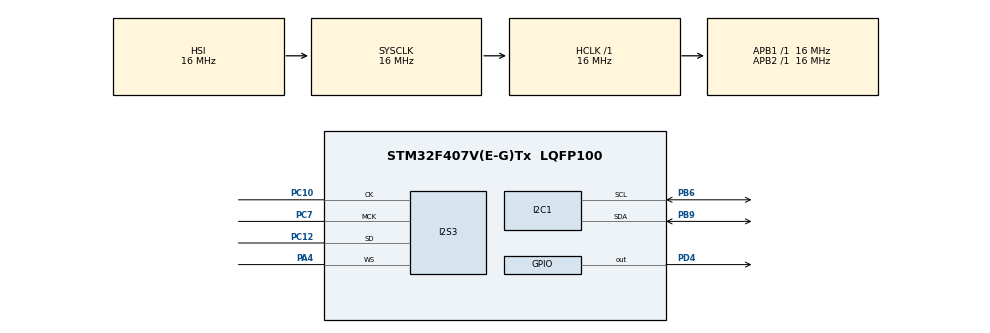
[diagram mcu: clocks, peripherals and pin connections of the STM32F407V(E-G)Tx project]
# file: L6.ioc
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Dma.Request0=SPI3_TX
Dma.SPI3_TX.0.Direction=DMA_MEMORY_TO_PERIPH
Dma.SPI3_TX.0.FIFOMode=DMA_FIFOMODE_ENABLE
Dma.SPI3_TX.0.FIFOThreshold=DMA_FIFO_THRESHOLD_FULL
Dma.SPI3_TX.0.Instance=DMA1_Stream5
Dma.SPI3_TX.0.MemBurst=DMA_MBURST_SINGLE
Dma.SPI3_TX.0.MemDataAlignment=DMA_MDATAALIGN_HALFWORD
Dma.SPI3_TX.0.MemInc=DMA_MINC_ENABLE
Dma.SPI3_TX.0.Mode=DMA_CIRCULAR
Dma.SPI3_TX.0.PeriphBurst=DMA_PBURST_SINGLE
Dma.SPI3_TX.0.PeriphDataAlignment=DMA_PDATAALIGN_HALFWORD
Dma.SPI3_TX.0.PeriphInc=DMA_PINC_DISABLE
Dma.SPI3_TX.0.Priority=DMA_PRIORITY_LOW
I2S3.AudioFreq=I2S_AUDIOFREQ_48K
I2S3.ErrorAudioFreq=-2.34 %
I2S3.FullDuplexMode=I2S_FULLDUPLEXMODE_DISABLE
I2S3.Instance=SPI$Index
I2S3.RealAudioFreq=46.875 KHz
I2S3.VirtualMode=I2S_MODE_MASTER
Mcu.Family=STM32F4
Mcu.Name=STM32F407V(E-G)Tx
Mcu.Package=LQFP100
NVIC.DMA1_Stream5_IRQn=true\:0\:0\:false\:false\:true\:false\:true\:true
NVIC.PriorityGroup=NVIC_PRIORITYGROUP_4
PA4.Mode=Half_Duplex_Master
PA4.Signal=I2S3_WS
PB6.Mode=I2C
PB6.Signal=I2C1_SCL
PB9.Mode=I2C
PB9.Signal=I2C1_SDA
PC10.Mode=Half_Duplex_Master
PC10.Signal=I2S3_CK
PC12.Mode=Half_Duplex_Master
PC12.Signal=I2S3_SD
PC7.Mode=Master_Clock_Activated
PC7.Signal=I2S3_MCK
PD4.Signal=GPIO_Output
ProjectManager.HeapSize=0x200
ProjectManager.StackSize=0x400
ProjectManager.TargetToolchain=STM32CubeIDE
RCC.AHBFreq_Value=16000000
RCC.APB1Freq_Value=16000000
RCC.APB2Freq_Value=16000000
RCC.CortexFreq_Value=16000000
RCC.HSE_VALUE=25000000
RCC.HSI_VALUE=16000000
RCC.LSE_VALUE=32768
RCC.SYSCLKFreq_VALUE=16000000
RCC.VCOOutputFreq_Value=192000000
board=custom

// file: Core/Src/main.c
/* USER CODE BEGIN Header */
/**
  ******************************************************************************
  * @file           : main.c
  * @brief          : Main program body
  ******************************************************************************
  * @attention
  *
  * Copyright (c) 2025 STMicroelectronics.
  * All rights reserved.
  *
  * This software is licensed under terms that can be found in the LICENSE file
  * in the root directory of this software component.
  * If no LICENSE file comes with this software, it is provided AS-IS.
  *
  ******************************************************************************
  */
/* USER CODE END Header */
#include "main.h"

/* USER CODE BEGIN PTD */

typedef enum {
	C4,
	C5,
	D5,
	E5,
	F5,
	G5,
	A5,
	B5,
	C6,
	D6,
	E6,
	F6,
	G6,
	A6,
	B6,
	C7,
} soundToneType;

/* USER CODE END PTD */

/* USER CODE BEGIN PD */
#define CS43L22_I2C_ADDRESS 0x94
#define I2C_TIMEOUT 10

/* USER CODE END PD */

I2C_HandleTypeDef hi2c1;

I2S_HandleTypeDef hi2s3;
DMA_HandleTypeDef hdma_spi3_tx;

/* USER CODE BEGIN PV */

int16_t dataI2S[100] = {0};

/* USER CODE END PV */

void SystemClock_Config(void);
static void MX_GPIO_Init(void);
static void MX_DMA_Init(void);
static void MX_I2C1_Init(void);
static void MX_I2S3_Init(void);

/* USER CODE BEGIN 0 */

void CS43L22_Init(void){
	HAL_GPIO_WritePin(GPIOD, GPIO_PIN_4, GPIO_PIN_SET);

	uint8_t TxBuffer[2];

	TxBuffer[0] = 0x0D;
	TxBuffer[1] = 0x01;
	HAL_I2C_Master_Transmit(&hi2c1, CS43L22_I2C_ADDRESS, (uint8_t*) &TxBuffer, 2, I2C_TIMEOUT);

	TxBuffer[0] = 0x00;
	TxBuffer[1] = 0x99;
	HAL_I2C_Master_Transmit(&hi2c1, CS43L22_I2C_ADDRESS, (uint8_t*) &TxBuffer, 2, I2C_TIMEOUT);

	TxBuffer[0] = 0x47;
	TxBuffer[1] = 0x80;
	HAL_I2C_Master_Transmit(&hi2c1, CS43L22_I2C_ADDRESS, (uint8_t*) &TxBuffer, 2, I2C_TIMEOUT);

	TxBuffer[0] = 0x32;
	TxBuffer[1] = 0xFF;
	HAL_I2C_Master_Transmit(&hi2c1, CS43L22_I2C_ADDRESS, (uint8_t*) &TxBuffer, 2, I2C_TIMEOUT);

	TxBuffer[0] = 0x32;
	TxBuffer[1] = 0x7F;
	HAL_I2C_Master_Transmit(&hi2c1, CS43L22_I2C_ADDRESS, (uint8_t*) &TxBuffer, 2, I2C_TIMEOUT);

	TxBuffer[0] = 0x00;
	TxBuffer[1] = 0x00;
	HAL_I2C_Master_Transmit(&hi2c1, CS43L22_I2C_ADDRESS, (uint8_t*) &TxBuffer, 2, I2C_TIMEOUT);

	TxBuffer[0] = 0x04;
	TxBuffer[1] = 0xAF;
	HAL_I2C_Master_Transmit(&hi2c1, CS43L22_I2C_ADDRESS, (uint8_t*) &TxBuffer, 2, I2C_TIMEOUT);

	TxBuffer[0] = 0x0D;
	TxBuffer[1] = 0x70;
	HAL_I2C_Master_Transmit(&hi2c1, CS43L22_I2C_ADDRESS, (uint8_t*) &TxBuffer, 2, I2C_TIMEOUT);

	TxBuffer[0] = 0x05;
	TxBuffer[1] = 0x81;
	HAL_I2C_Master_Transmit(&hi2c1, CS43L22_I2C_ADDRESS, (uint8_t*) &TxBuffer, 2, I2C_TIMEOUT);

	TxBuffer[0] = 0x06;
	TxBuffer[1] = 0x07;
	HAL_I2C_Master_Transmit(&hi2c1, CS43L22_I2C_ADDRESS, (uint8_t*) &TxBuffer, 2, I2C_TIMEOUT);

	TxBuffer[0] = 0x0A;
	TxBuffer[1] = 0x00;
	HAL_I2C_Master_Transmit(&hi2c1, CS43L22_I2C_ADDRESS, (uint8_t*) &TxBuffer, 2, I2C_TIMEOUT);

	TxBuffer[0] = 0x27;
	TxBuffer[1] = 0x00;
	HAL_I2C_Master_Transmit(&hi2c1, CS43L22_I2C_ADDRESS, (uint8_t*) &TxBuffer, 2, I2C_TIMEOUT);

	TxBuffer[0] = 0x1A;
	TxBuffer[1] = 0x0A;
	HAL_I2C_Master_Transmit(&hi2c1, CS43L22_I2C_ADDRESS, (uint8_t*) &TxBuffer, 2, I2C_TIMEOUT);

	TxBuffer[0] = 0x1B;
	TxBuffer[1] = 0x0A;
	HAL_I2C_Master_Transmit(&hi2c1, CS43L22_I2C_ADDRESS, (uint8_t*) &TxBuffer, 2, I2C_TIMEOUT);

	TxBuffer[0] = 0x1F;
	TxBuffer[1] = 0x0F;
	HAL_I2C_Master_Transmit(&hi2c1, CS43L22_I2C_ADDRESS, (uint8_t*) &TxBuffer, 2, I2C_TIMEOUT);

	TxBuffer[0] = 0x02;
	TxBuffer[1] = 0x9E;
	HAL_I2C_Master_Transmit(&hi2c1, CS43L22_I2C_ADDRESS, (uint8_t*) &TxBuffer, 2, I2C_TIMEOUT);
}

void CS43L22_Beep(soundToneType pitch, uint32_t duration_ms){
	uint8_t TxBuffer[2];

	TxBuffer[0] = 0x1D;
	TxBuffer[1] = 0x00;
	HAL_I2C_Master_Transmit(&hi2c1, CS43L22_I2C_ADDRESS, (uint8_t*) &TxBuffer, 2, I2C_TIMEOUT);

	TxBuffer[0] = 0x1C;
	switch (pitch) {
		case C4:
			TxBuffer[1] = 0x00;
			break;

		case C5:
			TxBuffer[1] = 0x10;   // 0001
			break;

		case D5:
			TxBuffer[1] = 0x20;   // 0010
			break;

		case E5:
			TxBuffer[1] = 0x30;   // 0011
			break;

		case F5:
			TxBuffer[1] = 0x40;   // 0100
			break;

		case G5:
			TxBuffer[1] = 0x50;   // 0101
			break;

		case A5:
			TxBuffer[1] = 0x60;   // 0110
			break;

		case B5:
			TxBuffer[1] = 0x70;   // 0111
			break;

		case C6:
			TxBuffer[1] = 0x80;   // 1000
			break;

		case D6:
			TxBuffer[1] = 0x90;   // 1001
			break;

		case E6:
			TxBuffer[1] = 0xA0;   // 1010
			break;

		case F6:
			TxBuffer[1] = 0xB0;   // 1011
			break;

		case G6:
			TxBuffer[1] = 0xC0;   // 1100
			break;

		case A6:
			TxBuffer[1] = 0xD0;   // 1101
			break;

		case B6:
			TxBuffer[1] = 0xE0;   // 1110
			break;

		case C7:
			TxBuffer[1] = 0xF0;   // 1111
			break;

		default:
			TxBuffer[1] = 0x00;
	}
	HAL_I2C_Master_Transmit(&hi2c1, CS43L22_I2C_ADDRESS, (uint8_t*) &TxBuffer, 2, I2C_TIMEOUT);

	TxBuffer[0] = 0x1E;
	TxBuffer[1] = 0xC0;
	HAL_I2C_Master_Transmit(&hi2c1, CS43L22_I2C_ADDRESS, (uint8_t*) &TxBuffer, 2, I2C_TIMEOUT);

	HAL_Delay(duration_ms);

	TxBuffer[0] = 0x1E;
	TxBuffer[1] = 0x00;
	HAL_I2C_Master_Transmit(&hi2c1, CS43L22_I2C_ADDRESS, (uint8_t*) &TxBuffer, 2, I2C_TIMEOUT);
}

/* USER CODE END 0 */

int main(void)
{

  /* MCU Configuration--------------------------------------------------------*/

  /* Reset of all peripherals, Initializes the Flash interface and the Systick. */
  HAL_Init();

  /* Configure the system clock */
  SystemClock_Config();

  /* Initialize all configured peripherals */
  MX_GPIO_Init();
  MX_DMA_Init();
  MX_I2C1_Init();
  MX_I2S3_Init();
  /* USER CODE BEGIN 2 */

  CS43L22_Init();
  HAL_I2S_Transmit_DMA(&hi2s3, (uint16_t*)dataI2S, 100);

  /* USER CODE END 2 */

  /* Infinite loop */
  while (1)
  {
	  CS43L22_Beep(C4, 200);
	  HAL_Delay(500);

	  CS43L22_Beep(C5, 200);
	  HAL_Delay(500);

	  CS43L22_Beep(D5, 200);
	  HAL_Delay(500);

	  CS43L22_Beep(E5, 200);
	  HAL_Delay(500);

	  CS43L22_Beep(F5, 200);
	  HAL_Delay(500);

	  CS43L22_Beep(G5, 200);
	  HAL_Delay(500);

	  CS43L22_Beep(A5, 200);
	  HAL_Delay(500);

	  CS43L22_Beep(B5, 200);
	  HAL_Delay(500);

	  CS43L22_Beep(C6, 200);
	  HAL_Delay(500);

	  CS43L22_Beep(D6, 200);
	  HAL_Delay(500);

	  CS43L22_Beep(E6, 200);
	  HAL_Delay(500);

	  CS43L22_Beep(F6, 200);
	  HAL_Delay(500);

	  CS43L22_Beep(G6, 200);
	  HAL_Delay(500);

	  CS43L22_Beep(A6, 200);
	  HAL_Delay(500);

	  CS43L22_Beep(B6, 200);
	  HAL_Delay(500);

	  CS43L22_Beep(C7, 200);
	  HAL_Delay(500);
  }
}

void SystemClock_Config(void)
{
  RCC_OscInitTypeDef RCC_OscInitStruct = {0};
  RCC_ClkInitTypeDef RCC_ClkInitStruct = {0};

  /** Macro to configure the PLL multiplication factor
  */
  __HAL_RCC_PLL_PLLM_CONFIG(16);

  /** Macro to configure the PLL clock source
  */
  __HAL_RCC_PLL_PLLSOURCE_CONFIG(RCC_PLLSOURCE_HSI);

  /** Configure the main internal regulator output voltage
  */
  __HAL_RCC_PWR_CLK_ENABLE();
  __HAL_PWR_VOLTAGESCALING_CONFIG(PWR_REGULATOR_VOLTAGE_SCALE1);

  /** Initializes the RCC Oscillators according to the specified parameters
  * in the RCC_OscInitTypeDef structure.
  */
  RCC_OscInitStruct.OscillatorType = RCC_OSCILLATORTYPE_HSI;
  RCC_OscInitStruct.HSIState = RCC_HSI_ON;
  RCC_OscInitStruct.HSICalibrationValue = RCC_HSICALIBRATION_DEFAULT;
  RCC_OscInitStruct.PLL.PLLState = RCC_PLL_NONE;
  RCC_OscInitStruct.PLL.PLLSource = RCC_PLLSOURCE_HSI;
  if (HAL_RCC_OscConfig(&RCC_OscInitStruct) != HAL_OK)
  {
    Error_Handler();
  }

  /** Initializes the CPU, AHB and APB buses clocks
  */
  RCC_ClkInitStruct.ClockType = RCC_CLOCKTYPE_HCLK|RCC_CLOCKTYPE_SYSCLK
                              |RCC_CLOCKTYPE_PCLK1|RCC_CLOCKTYPE_PCLK2;
  RCC_ClkInitStruct.SYSCLKSource = RCC_SYSCLKSOURCE_HSI;
  RCC_ClkInitStruct.AHBCLKDivider = RCC_SYSCLK_DIV1;
  RCC_ClkInitStruct.APB1CLKDivider = RCC_HCLK_DIV1;
  RCC_ClkInitStruct.APB2CLKDivider = RCC_HCLK_DIV1;

  if (HAL_RCC_ClockConfig(&RCC_ClkInitStruct, FLASH_LATENCY_0) != HAL_OK)
  {
    Error_Handler();
  }
}

static void MX_I2C1_Init(void)
{

  hi2c1.Instance = I2C1;
  hi2c1.Init.ClockSpeed = 100000;
  hi2c1.Init.DutyCycle = I2C_DUTYCYCLE_2;
  hi2c1.Init.OwnAddress1 = 0;
  hi2c1.Init.AddressingMode = I2C_ADDRESSINGMODE_7BIT;
  hi2c1.Init.DualAddressMode = I2C_DUALADDRESS_DISABLE;
  hi2c1.Init.OwnAddress2 = 0;
  hi2c1.Init.GeneralCallMode = I2C_GENERALCALL_DISABLE;
  hi2c1.Init.NoStretchMode = I2C_NOSTRETCH_DISABLE;
  if (HAL_I2C_Init(&hi2c1) != HAL_OK)
  {
    Error_Handler();
  }

}

static void MX_I2S3_Init(void)
{

  hi2s3.Instance = SPI3;
  hi2s3.Init.Mode = I2S_MODE_MASTER_TX;
  hi2s3.Init.Standard = I2S_STANDARD_PHILIPS;
  hi2s3.Init.DataFormat = I2S_DATAFORMAT_16B;
  hi2s3.Init.MCLKOutput = I2S_MCLKOUTPUT_ENABLE;
  hi2s3.Init.AudioFreq = I2S_AUDIOFREQ_48K;
  hi2s3.Init.CPOL = I2S_CPOL_LOW;
  hi2s3.Init.ClockSource = I2S_CLOCK_PLL;
  hi2s3.Init.FullDuplexMode = I2S_FULLDUPLEXMODE_DISABLE;
  if (HAL_I2S_Init(&hi2s3) != HAL_OK)
  {
    Error_Handler();
  }

}

static void MX_DMA_Init(void)
{

  /* DMA controller clock enable */
  __HAL_RCC_DMA1_CLK_ENABLE();

  /* DMA interrupt init */
  /* DMA1_Stream5_IRQn interrupt configuration */
  HAL_NVIC_SetPriority(DMA1_Stream5_IRQn, 0, 0);
  HAL_NVIC_EnableIRQ(DMA1_Stream5_IRQn);

}

static void MX_GPIO_Init(void)
{
  GPIO_InitTypeDef GPIO_InitStruct = {0};

  /* GPIO Ports Clock Enable */
  __HAL_RCC_GPIOA_CLK_ENABLE();
  __HAL_RCC_GPIOC_CLK_ENABLE();
  __HAL_RCC_GPIOD_CLK_ENABLE();
  __HAL_RCC_GPIOB_CLK_ENABLE();

  /*Configure GPIO pin Output Level */
  HAL_GPIO_WritePin(GPIOD, GPIO_PIN_4, GPIO_PIN_RESET);

  /*Configure GPIO pin : PD4 */
  GPIO_InitStruct.Pin = GPIO_PIN_4;
  GPIO_InitStruct.Mode = GPIO_MODE_OUTPUT_PP;
  GPIO_InitStruct.Pull = GPIO_NOPULL;
  GPIO_InitStruct.Speed = GPIO_SPEED_FREQ_LOW;
  HAL_GPIO_Init(GPIOD, &GPIO_InitStruct);

}

void Error_Handler(void)
{
  __disable_irq();
  while (1)
  {
  }
}
